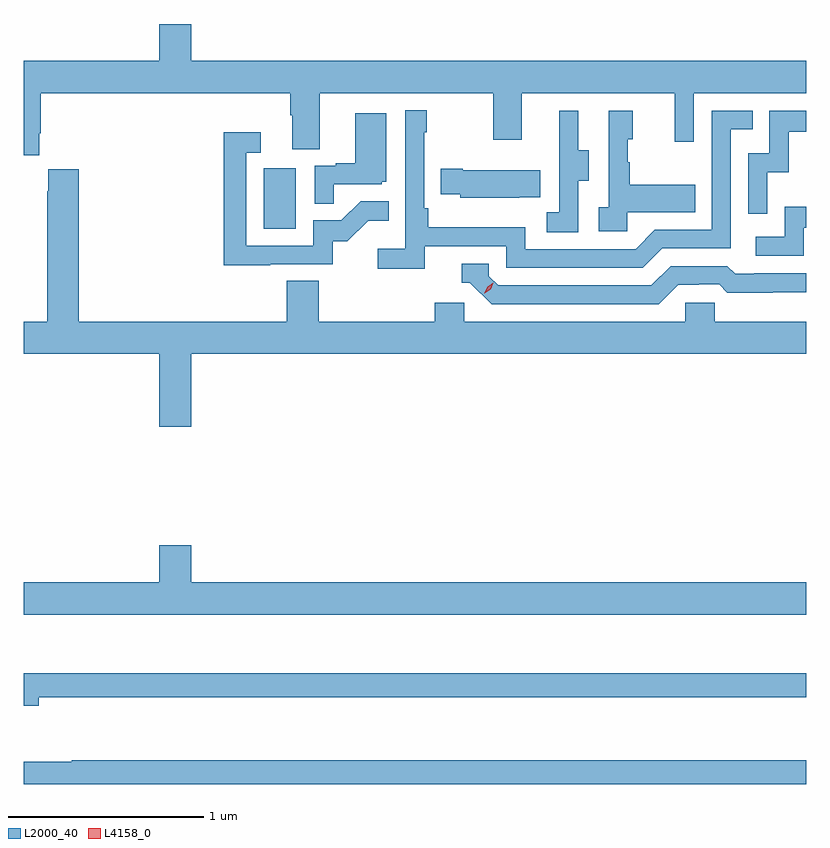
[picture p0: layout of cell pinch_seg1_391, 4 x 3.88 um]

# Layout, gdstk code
import gdstk
lib = gdstk.Library(unit=1e-6, precision=1e-09)
def R(c, l, rs):  # rectangles x0, y0, x1, y1
    for r in rs: c.add(gdstk.rectangle(r[:2], r[2:], *l))
def P(c, l, *ps):  # polygons
    for p in ps: c.add(gdstk.Polygon(p, *l))
L2000_40 = (2000, 40)
L4158_0 = (4158, 0)

pinch_seg1_391 = lib.new_cell('pinch_seg1_391')
R(pinch_seg1_391, L2000_40, [(992.714,539.052,992.878,539.359)])
P(pinch_seg1_391, L2000_40, [(991.567,539.539),(991.574,539.539),(991.574,539.744),(992.849,539.744),(992.849,539.632),(992.861,539.632),(992.861,539.458),(993.001,539.458),(993.001,539.744),(993.886,539.744),(993.886,539.505),(994.033,539.505),(994.033,539.744),(994.814,539.744),(994.814,539.496),(994.911,539.496),(994.911,539.744),(995.487,539.744),(995.487,539.908),(992.344,539.908),(992.344,540.097),(992.18,540.097),(992.18,539.908),(991.487,539.908),(991.487,539.427),(991.567,539.427)],
  [(993.536,538.962),(993.954,538.962),(993.954,538.851),(994.651,538.851),(994.75,538.95),(995.1,538.95),(995.1,539.559),(995.213,539.559),(995.213,539.655),(995.004,539.655),(995.004,539.046),(994.713,539.046),(994.614,538.947),(994.05,538.947),(994.05,539.059),(993.554,539.059),(993.554,539.155),(993.534,539.155),(993.534,539.543),(993.547,539.543),(993.547,539.656),(993.438,539.656),(993.438,538.948),(993.297,538.948),(993.297,538.846),(993.536,538.846)],
  [(995.286,539.339),(995.396,539.339),(995.396,539.547),(995.487,539.547),(995.487,539.655),(995.298,539.655),(995.298,539.436),(995.19,539.436),(995.19,539.127),(995.286,539.127)],
  [(994.572,539.135),(994.919,539.135),(994.919,539.275),(994.585,539.275),(994.585,539.39),(994.575,539.39),(994.575,539.508),(994.6,539.508),(994.6,539.653),(994.476,539.653),(994.476,539.162),(994.425,539.162),(994.425,539.037),(994.572,539.037)],
  [(994.32,539.296),(994.375,539.296),(994.375,539.451),(994.321,539.451),(994.321,539.653),(994.223,539.653),(994.223,539.439),(994.224,539.439),(994.224,539.135),(994.161,539.135),(994.161,539.032),(994.32,539.032)],
  [(993.071,539.277),(993.318,539.277),(993.318,539.292),(993.34,539.292),(993.34,539.641),(993.182,539.641),(993.182,539.386),(993.083,539.386),(993.083,539.373),(992.976,539.373),(992.976,539.179),(993.071,539.179)],
  [(992.747,538.869),(993.066,538.869),(993.066,538.986),(993.142,538.986),(993.249,539.093),(993.353,539.093),(993.353,539.192),(993.209,539.192),(993.111,539.094),(992.967,539.094),(992.967,538.965),(992.625,538.965),(992.625,539.439),(992.698,539.439),(992.698,539.545),(992.509,539.545),(992.509,538.864),(992.747,538.864)],
  [(994.019,539.213),(994.127,539.213),(994.127,539.35),(993.73,539.35),(993.73,539.358),(993.619,539.358),(993.619,539.228),(993.717,539.228),(993.717,539.21),(994.019,539.21)],
  [(995.487,538.576),(995.019,538.576),(995.019,538.674),(994.869,538.674),(994.869,538.576),(993.738,538.576),(993.738,538.674),(993.587,538.674),(993.587,538.576),(992.996,538.576),(992.996,538.784),(992.831,538.784),(992.831,538.576),(991.769,538.576),(991.769,539.356),(991.613,539.356),(991.613,539.243),(991.609,539.243),(991.609,538.576),(991.487,538.576),(991.487,538.412),(992.18,538.412),(992.18,538.038),(992.344,538.038),(992.344,538.412),(995.487,538.412)],
  [(995.472,539.055),(995.487,539.055),(995.487,539.164),(995.376,539.164),(995.376,539.01),(995.229,539.01),(995.229,538.914),(995.472,538.914)],
  [(994.831,538.764),(994.938,538.764),(994.938,538.767),(995.041,538.767),(995.083,538.725),(995.316,538.725),(995.316,538.727),(995.487,538.727),(995.487,538.824),(995.221,538.824),(995.221,538.821),(995.122,538.821),(995.083,538.86),(994.794,538.86),(994.695,538.761),(993.912,538.761),(993.864,538.809),(993.864,538.872),(993.725,538.872),(993.725,538.776),(993.768,538.776),(993.879,538.665),(994.732,538.665)],
  [(995.487,537.244),(992.344,537.244),(992.344,537.433),(992.18,537.433),(992.18,537.244),(991.487,537.244),(991.487,537.08),(995.487,537.08)],
  [(991.564,536.658),(995.487,536.658),(995.487,536.779),(991.487,536.779),(991.487,536.615),(991.564,536.615)],
  [(995.487,536.335),(991.733,536.335),(991.733,536.327),(991.487,536.327),(991.487,536.214),(995.487,536.214)])
P(pinch_seg1_391, L4158_0, [(993.842,538.721),(993.842,538.722),(993.858,538.755),(993.888,538.775),(993.888,538.775),(993.888,538.775),(993.873,538.742),(993.843,538.721)])

lib.write_gds('pinch_seg1_391.gds')
